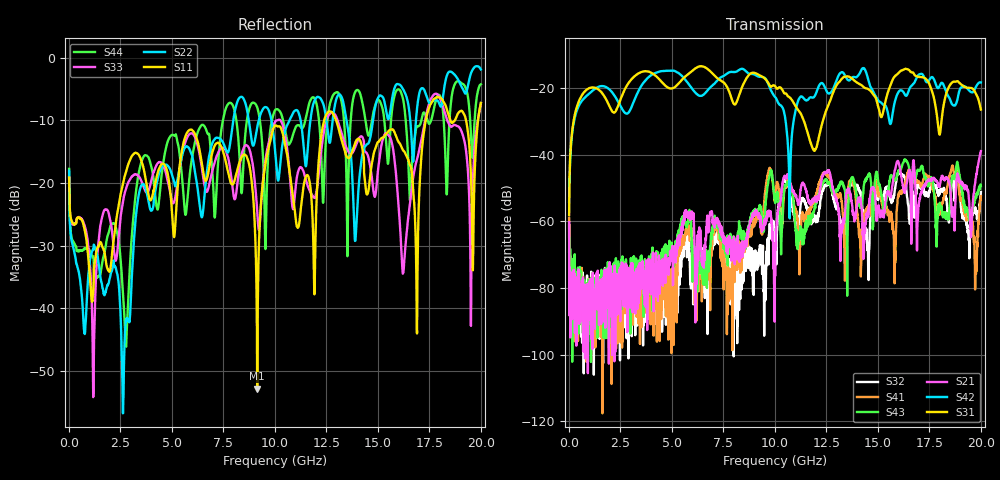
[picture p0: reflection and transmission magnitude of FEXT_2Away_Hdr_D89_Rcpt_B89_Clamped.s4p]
!Agilent Technologies,N5245A,MY51251303,A.09.42.12
!Agilent N5245A: A.09.42.12
!Date: Friday, March 09, 2012 11:25:14
!Correction: S11(Full 4 Port(1,2,3,4))
!S12(Full 4 Port(1,2,3,4))
!S13(Full 4 Port(1,2,3,4))
!S14(Full 4 Port(1,2,3,4))
!S21(Full 4 Port(1,2,3,4))
!S22(Full 4 Port(1,2,3,4))
!S23(Full 4 Port(1,2,3,4))
!S24(Full 4 Port(1,2,3,4))
!S31(Full 4 Port(1,2,3,4))
!S32(Full 4 Port(1,2,3,4))
!S33(Full 4 Port(1,2,3,4))
!S34(Full 4 Port(1,2,3,4))
!S41(Full 4 Port(1,2,3,4))
!S42(Full 4 Port(1,2,3,4))
!S43(Full 4 Port(1,2,3,4))
!S44(Full 4 Port(1,2,3,4))
!S4P File: Measurements: <S11,S12,S13,S14>,
!<S21,S22,S23,S24>,
!<S31,S32,S33,S34>,
!<S41,S42,S43,S44>:
# Hz S  dB  R 50
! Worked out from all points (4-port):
!   2000 points, 10 MHz to 20 GHz, reference 50 ohm
!   strongest paths, dB at 10 MHz, 5.01 GHz, 10.01 GHz, 15.01 GHz, 20 GHz:
!     S31: -58.1, -20.1, -19.4, -25.5, -26.4
!     S42: -54.1, -14.7, -22.7, -23.6, -18.3
!     S21: -60.2, -67.9, -76.4, -56.4, -38.9
!     S43: -69.1, -70.1, -54.5, -47.4, -49.4
!     S41: -59.0, -81.6, -52.7, -52.5, -52.4
!     S32: -61.1, -84.4, -63.4, -53.5, -51.2
!   lowest |S11| = -52.9 dB at 9.14 GHz (marker M1), VSWR 1.00, Z = 49.8 + j0.101 ohm
!   |S11| at or under -10 dB: start of sweep to 12.39 GHz; 12.97 GHz to 17.32 GHz (4.351 GHz wide, 28.7 % of centre); 19.28 GHz to 19.86 GHz (579.9 MHz wide, 2.96 % of centre)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
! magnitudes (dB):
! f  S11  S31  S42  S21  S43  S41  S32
! 10 MHz  -19.1  -58.1  -54.1  -60.2  -69.1  -59.0  -61.1
! 590 MHz  -25.8  -22.6  -24.1  -82.0  -74.9  -75.8  -94.6
! 2.64 GHz  -19.9  -21.3  -26.8  -78.0  -81.0  -84.9  -82.3
! 3.52 GHz  -16.5  -15.1  -19.3  -80.2  -70.2  -77.3  -84.7
! 9.14 GHz  -52.9  -15.7  -16.4  -58.1  -57.2  -59.4  -74.5
! 10.71 GHz  -18.2  -22.7  -58.8  -47.5  -49.2  -48.5  -51.4
! 20 GHz  -7.2  -26.4  -18.3  -38.9  -49.4  -52.4  -51.2
